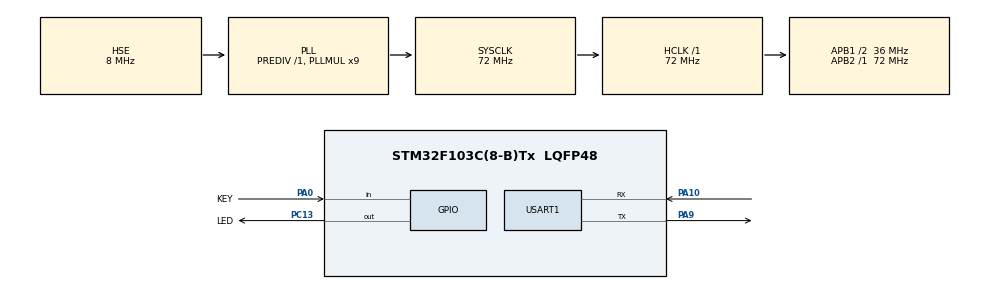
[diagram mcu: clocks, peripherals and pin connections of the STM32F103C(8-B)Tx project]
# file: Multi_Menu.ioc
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Mcu.Family=STM32F1
Mcu.Name=STM32F103C(8-B)Tx
Mcu.Package=LQFP48
NVIC.PriorityGroup=NVIC_PRIORITYGROUP_4
PA0-WKUP.GPIO_Label=KEY
PA0-WKUP.GPIO_PuPd=GPIO_PULLUP
PA0-WKUP.Signal=GPIO_Input
PA10.Mode=Asynchronous
PA10.Signal=USART1_RX
PA13.Mode=Serial_Wire
PA13.Signal=SYS_JTMS-SWDIO
PA14.Mode=Serial_Wire
PA14.Signal=SYS_JTCK-SWCLK
PA9.Mode=Asynchronous
PA9.Signal=USART1_TX
PC13-TAMPER-RTC.GPIO_Label=LED
PC13-TAMPER-RTC.GPIO_Speed=GPIO_SPEED_FREQ_HIGH
PC13-TAMPER-RTC.PinState=GPIO_PIN_SET
PC13-TAMPER-RTC.Signal=GPIO_Output
PC14-OSC32_IN.Mode=LSE-External-Oscillator
PC14-OSC32_IN.Signal=RCC_OSC32_IN
PC15-OSC32_OUT.Mode=LSE-External-Oscillator
PC15-OSC32_OUT.Signal=RCC_OSC32_OUT
PD0-OSC_IN.Mode=HSE-External-Oscillator
PD0-OSC_IN.Signal=RCC_OSC_IN
PD1-OSC_OUT.Mode=HSE-External-Oscillator
PD1-OSC_OUT.Signal=RCC_OSC_OUT
ProjectManager.HeapSize=0x200
ProjectManager.StackSize=0x400
ProjectManager.TargetToolchain=MDK-ARM V5
RCC.AHBFreq_Value=72000000
RCC.APB1CLKDivider=RCC_HCLK_DIV2
RCC.APB1Freq_Value=36000000
RCC.APB1TimFreq_Value=72000000
RCC.APB2Freq_Value=72000000
RCC.APB2TimFreq_Value=72000000
RCC.HCLKFreq_Value=72000000
RCC.PLLMUL=RCC_PLL_MUL9
RCC.PLLSourceVirtual=RCC_PLLSOURCE_HSE
RCC.SYSCLKFreq_VALUE=72000000
RCC.SYSCLKSource=RCC_SYSCLKSOURCE_PLLCLK
RCC.USBFreq_Value=72000000
USART1.VirtualMode=VM_ASYNC
board=custom

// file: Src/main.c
/* USER CODE BEGIN Header */
/**
  ******************************************************************************
  * @file           : main.c
  * @brief          : Main program body
  ******************************************************************************
  * @attention
  *
  * <h2><center>&copy; Copyright (c) 2020 STMicroelectronics.
  * All rights reserved.</center></h2>
  *
  * This software component is licensed by ST under BSD 3-Clause license,
  * the "License"; You may not use this file except in compliance with the
  * License. You may obtain a copy of the License at:
  *                        opensource.org/licenses/BSD-3-Clause
  *
  ******************************************************************************
  */
/* USER CODE END Header */

#include "main.h"
#include "usart.h"
#include "gpio.h"

/* USER CODE BEGIN PV */
Button button ;
Menu   menu ;
Timer  timer ;
/* USER CODE END PV */

void SystemClock_Config(void);
/* USER CODE BEGIN PFP */
/*读取按键状态*/
uint8_t read_button_pin_status(void)
{
    return HAL_GPIO_ReadPin(KEY_GPIO_Port, KEY_Pin); ;
}

/*定时器5ms循环调用button_ticks*/
void timer1_callback()
{
    button_ticks();
}
/* USER CODE END PFP */

/* USER CODE BEGIN 0 */
void button_callback(void *event)
{
	uint8_t button_event = get_button_event(&button) ;
	switch(button_event)
	{
		case SINGLE_CLICK:
			 Set_Event_Code(&menu, ENTER_KEY_SHORT);
			 break ;
		case LONG_RRESS_START:
			 Set_Event_Code(&menu, ENTER_KEY_LONG);
			 break ;
		default:
			 break ;
	}
}

void main_page_process(uint8_t Event_Code)
{
    switch(Event_Code)
    {
        case ENTER_KEY_SHORT:
            printf("发生单击，进入页面1\n");
            Set_Menu(&menu, LOG_PAGE);
            break ;

        case ENTER_KEY_LONG:
            printf("在页面0发生长按\n");
            break ;
    }
}

void log_page_process(uint8_t Event_Code)
{
    switch(Event_Code)
    {
        case ENTER_KEY_SHORT:
            printf("在页面1发生单击\n");
            break ;

        case ENTER_KEY_LONG:
            printf("发生长按，返回页面0\n");
            Set_Menu(&menu, MAIN_PAGE);
            break ;
    }
}

/*菜单处理*/
void Menu_Handler(struct Menu *handle)
{
	switch(handle->Current_Page)
	{
		case 0:
			main_page_process(handle->KeyEvent);
			break ;
		case 1:
			log_page_process(handle->KeyEvent);
			break ;
		default:
			break ;
	}
	/*及时将事件清除，防止重复触发*/
    Set_Event_Code(handle, NULL_KEY_EVENT);
}
/* USER CODE END 0 */

int main(void)
{

    /* MCU Configuration--------------------------------------------------------*/

    /* Reset of all peripherals, Initializes the Flash interface and the Systick. */
    HAL_Init();

    /* Configure the system clock */
    SystemClock_Config();

    /* Initialize all configured peripherals */
    MX_GPIO_Init();
    MX_USART1_UART_Init();
    /* USER CODE BEGIN 2 */
	/*1.初始化multi_timer*/
    timer_init(&timer, timer1_callback, 5, 5);
    timer_start(&timer);
	/*2.初始化multi_button并注册button event*/
	button_init(&button, read_button_pin_status, 0);
    button_attach(&button, SINGLE_CLICK, button_callback);
    button_attach(&button, LONG_RRESS_START, button_callback);
    button_start(&button);
    /*3.初始化菜单并注册当前菜单项及触发事件*/
    menu_init(&menu, MAIN_PAGE, NULL_KEY_EVENT);
    printf("当前页面：%d  当前事件值:%d\n", (&menu)->Current_Page,(&menu)->KeyEvent);

    /* USER CODE END 2 */

    /* Infinite loop */
    while (1)
    {

        /* USER CODE BEGIN 3 */
        Menu_Handler(&menu);
        timer_loop();
    }

    /* USER CODE END 3 */
}

void SystemClock_Config(void)
{
    RCC_OscInitTypeDef RCC_OscInitStruct = {0};
    RCC_ClkInitTypeDef RCC_ClkInitStruct = {0};

    /** Initializes the CPU, AHB and APB busses clocks
    */
    RCC_OscInitStruct.OscillatorType = RCC_OSCILLATORTYPE_HSE;
    RCC_OscInitStruct.HSEState = RCC_HSE_ON;
    RCC_OscInitStruct.HSEPredivValue = RCC_HSE_PREDIV_DIV1;
    RCC_OscInitStruct.HSIState = RCC_HSI_ON;
    RCC_OscInitStruct.PLL.PLLState = RCC_PLL_ON;
    RCC_OscInitStruct.PLL.PLLSource = RCC_PLLSOURCE_HSE;
    RCC_OscInitStruct.PLL.PLLMUL = RCC_PLL_MUL9;

    if (HAL_RCC_OscConfig(&RCC_OscInitStruct) != HAL_OK)
    {
        Error_Handler();
    }

    /** Initializes the CPU, AHB and APB busses clocks
    */
    RCC_ClkInitStruct.ClockType = RCC_CLOCKTYPE_HCLK | RCC_CLOCKTYPE_SYSCLK
                                  | RCC_CLOCKTYPE_PCLK1 | RCC_CLOCKTYPE_PCLK2;
    RCC_ClkInitStruct.SYSCLKSource = RCC_SYSCLKSOURCE_PLLCLK;
    RCC_ClkInitStruct.AHBCLKDivider = RCC_SYSCLK_DIV1;
    RCC_ClkInitStruct.APB1CLKDivider = RCC_HCLK_DIV2;
    RCC_ClkInitStruct.APB2CLKDivider = RCC_HCLK_DIV1;

    if (HAL_RCC_ClockConfig(&RCC_ClkInitStruct, FLASH_LATENCY_2) != HAL_OK)
    {
        Error_Handler();
    }
}

void Error_Handler(void)
{
}

/************************ (C) COPYRIGHT STMicroelectronics *****END OF FILE****/
